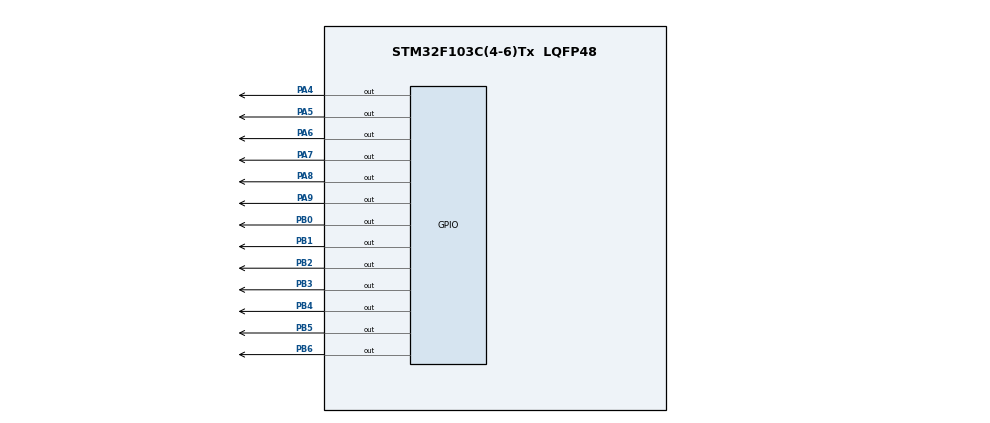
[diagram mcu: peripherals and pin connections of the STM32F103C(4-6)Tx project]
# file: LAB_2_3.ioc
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Mcu.Family=STM32F1
Mcu.Name=STM32F103C(4-6)Tx
Mcu.Package=LQFP48
NVIC.PriorityGroup=NVIC_PRIORITYGROUP_4
NVIC.TIM2_IRQn=true\:0\:0\:false\:false\:true\:true\:true
PA4.Signal=GPIO_Output
PA5.Signal=GPIO_Output
PA6.PinState=GPIO_PIN_SET
PA6.Signal=GPIO_Output
PA7.PinState=GPIO_PIN_SET
PA7.Signal=GPIO_Output
PA8.Signal=GPIO_Output
PA9.Signal=GPIO_Output
PB0.Signal=GPIO_Output
PB1.Signal=GPIO_Output
PB2.Signal=GPIO_Output
PB3.Signal=GPIO_Output
PB4.Signal=GPIO_Output
PB5.Signal=GPIO_Output
PB6.Signal=GPIO_Output
ProjectManager.HeapSize=0x200
ProjectManager.StackSize=0x400
ProjectManager.TargetToolchain=STM32CubeIDE
RCC.APB1Freq_Value=8000000
RCC.APB2Freq_Value=8000000
TIM2.Period=499
TIM2.Prescaler=7999
VP_SYS_VS_ND.Mode=No_Debug
VP_TIM2_VS_ClockSourceINT.Mode=Internal
board=custom

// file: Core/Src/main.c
/* USER CODE BEGIN Header */
/**
  ******************************************************************************
  * @file           : main.c
  * @brief          : Main program body for Lab 2 - Exercise 3
  ******************************************************************************
  */
/* USER CODE END Header */
#include "main.h"
#include "stm32f1xx_hal_tim.h" // Ensures Timer functions compile successfully

TIM_HandleTypeDef htim2;

/* USER CODE BEGIN PV */
const int MAX_LED = 4;
int index_led = 0;
int led_buffer[4] = {1, 2, 3, 4};
/* USER CODE END PV */

void SystemClock_Config(void);
static void MX_GPIO_Init(void);
static void MX_TIM2_Init(void);

/* USER CODE BEGIN 0 */
void display7SEG(int num) {
    // Hex array for common anode 7-segment (0 turns segment ON, 1 turns it OFF)
    uint8_t segmentMap[10] = {0x40, 0x79, 0x24, 0x30, 0x19, 0x12, 0x02, 0x78, 0x00, 0x10};

    if (num < 0 || num > 9) return;

    uint8_t val = segmentMap[num];

    // Write the corresponding bit to PB0 - PB6
    HAL_GPIO_WritePin(GPIOB, GPIO_PIN_0, (val >> 0) & 0x01);
    HAL_GPIO_WritePin(GPIOB, GPIO_PIN_1, (val >> 1) & 0x01);
    HAL_GPIO_WritePin(GPIOB, GPIO_PIN_2, (val >> 2) & 0x01);
    HAL_GPIO_WritePin(GPIOB, GPIO_PIN_3, (val >> 3) & 0x01);
    HAL_GPIO_WritePin(GPIOB, GPIO_PIN_4, (val >> 4) & 0x01);
    HAL_GPIO_WritePin(GPIOB, GPIO_PIN_5, (val >> 5) & 0x01);
    HAL_GPIO_WritePin(GPIOB, GPIO_PIN_6, (val >> 6) & 0x01);
}

void update7SEG(int index) {
    // Turn OFF all EN pins (PA6 to PA9) to prevent ghosting between frames
    HAL_GPIO_WritePin(GPIOA, GPIO_PIN_6 | GPIO_PIN_7 | GPIO_PIN_8 | GPIO_PIN_9, GPIO_PIN_SET);

    switch (index) {
        case 0:
            // Display the first 7SEG with led_buffer[0]
            display7SEG(led_buffer[0]);
            HAL_GPIO_WritePin(GPIOA, GPIO_PIN_6, GPIO_PIN_RESET);
            break;
        case 1:
            // Display the second 7SEG with led_buffer[1]
            display7SEG(led_buffer[1]);
            HAL_GPIO_WritePin(GPIOA, GPIO_PIN_7, GPIO_PIN_RESET);
            break;
        case 2:
            // Display the third 7SEG with led_buffer[2]
            display7SEG(led_buffer[2]);
            HAL_GPIO_WritePin(GPIOA, GPIO_PIN_8, GPIO_PIN_RESET);
            break;
        case 3:
            // Display the forth 7SEG with led_buffer[3]
            display7SEG(led_buffer[3]);
            HAL_GPIO_WritePin(GPIOA, GPIO_PIN_9, GPIO_PIN_RESET);
            break;
        default:
            break;
    }
}
/* USER CODE END 0 */

int main(void)
{

  /* MCU Configuration--------------------------------------------------------*/

  /* Reset of all peripherals, Initializes the Flash interface and the Systick. */
  HAL_Init();

  /* Configure the system clock */
  SystemClock_Config();

  /* Initialize all configured peripherals */
  MX_GPIO_Init();
  MX_TIM2_Init();
  /* USER CODE BEGIN 2 */
  // Start TIM2 in interrupt mode
  if (HAL_TIM_Base_Start_IT(&htim2) != HAL_OK) {
      Error_Handler();
  }
  /* USER CODE END 2 */

  /* Infinite loop */
  while (1)
  {

  }
}

void SystemClock_Config(void)
{
  RCC_OscInitTypeDef RCC_OscInitStruct = {0};
  RCC_ClkInitTypeDef RCC_ClkInitStruct = {0};

  /** Initializes the RCC Oscillators according to the specified parameters
  * in the RCC_OscInitTypeDef structure.
  */
  RCC_OscInitStruct.OscillatorType = RCC_OSCILLATORTYPE_HSI;
  RCC_OscInitStruct.HSIState = RCC_HSI_ON;
  RCC_OscInitStruct.HSICalibrationValue = RCC_HSICALIBRATION_DEFAULT;
  RCC_OscInitStruct.PLL.PLLState = RCC_PLL_NONE;
  if (HAL_RCC_OscConfig(&RCC_OscInitStruct) != HAL_OK)
  {
    Error_Handler();
  }
  /** Initializes the CPU, AHB and APB buses clocks
  */
  RCC_ClkInitStruct.ClockType = RCC_CLOCKTYPE_HCLK|RCC_CLOCKTYPE_SYSCLK
                              |RCC_CLOCKTYPE_PCLK1|RCC_CLOCKTYPE_PCLK2;
  RCC_ClkInitStruct.SYSCLKSource = RCC_SYSCLKSOURCE_HSI;
  RCC_ClkInitStruct.AHBCLKDivider = RCC_SYSCLK_DIV1;
  RCC_ClkInitStruct.APB1CLKDivider = RCC_HCLK_DIV1;
  RCC_ClkInitStruct.APB2CLKDivider = RCC_HCLK_DIV1;

  if (HAL_RCC_ClockConfig(&RCC_ClkInitStruct, FLASH_LATENCY_0) != HAL_OK)
  {
    Error_Handler();
  }
}

static void MX_TIM2_Init(void)
{

  TIM_ClockConfigTypeDef sClockSourceConfig = {0};
  TIM_MasterConfigTypeDef sMasterConfig = {0};

  htim2.Instance = TIM2;
  htim2.Init.Prescaler = 7999;
  htim2.Init.CounterMode = TIM_COUNTERMODE_UP;
  htim2.Init.Period = 499;
  htim2.Init.ClockDivision = TIM_CLOCKDIVISION_DIV1;
  htim2.Init.AutoReloadPreload = TIM_AUTORELOAD_PRELOAD_DISABLE;
  if (HAL_TIM_Base_Init(&htim2) != HAL_OK)
  {
    Error_Handler();
  }
  sClockSourceConfig.ClockSource = TIM_CLOCKSOURCE_INTERNAL;
  if (HAL_TIM_ConfigClockSource(&htim2, &sClockSourceConfig) != HAL_OK)
  {
    Error_Handler();
  }
  sMasterConfig.MasterOutputTrigger = TIM_TRGO_RESET;
  sMasterConfig.MasterSlaveMode = TIM_MASTERSLAVEMODE_DISABLE;
  if (HAL_TIMEx_MasterConfigSynchronization(&htim2, &sMasterConfig) != HAL_OK)
  {
    Error_Handler();
  }

}

static void MX_GPIO_Init(void)
{
  GPIO_InitTypeDef GPIO_InitStruct = {0};

  /* GPIO Ports Clock Enable */
  __HAL_RCC_GPIOA_CLK_ENABLE();
  __HAL_RCC_GPIOB_CLK_ENABLE();

  /*Configure GPIO pin Output Level (PA4, PA5 default to LOW) */
  HAL_GPIO_WritePin(GPIOA, GPIO_PIN_4|GPIO_PIN_5, GPIO_PIN_RESET);

  /*Configure GPIO pin Output Level (PA6, PA7, PA8, PA9 default to HIGH to turn OFF displays) */
  HAL_GPIO_WritePin(GPIOA, GPIO_PIN_6|GPIO_PIN_7|GPIO_PIN_8|GPIO_PIN_9, GPIO_PIN_SET);

  /*Configure GPIO pin Output Level */
  HAL_GPIO_WritePin(GPIOB, GPIO_PIN_0|GPIO_PIN_1|GPIO_PIN_2|GPIO_PIN_3
                          |GPIO_PIN_4|GPIO_PIN_5|GPIO_PIN_6, GPIO_PIN_RESET);

  /*Configure GPIO pins : PA4 PA5 PA6 PA7 PA8 PA9 */
  GPIO_InitStruct.Pin = GPIO_PIN_4|GPIO_PIN_5|GPIO_PIN_6|GPIO_PIN_7
                          |GPIO_PIN_8|GPIO_PIN_9;
  GPIO_InitStruct.Mode = GPIO_MODE_OUTPUT_PP;
  GPIO_InitStruct.Pull = GPIO_NOPULL;
  GPIO_InitStruct.Speed = GPIO_SPEED_FREQ_LOW;
  HAL_GPIO_Init(GPIOA, &GPIO_InitStruct);

  /*Configure GPIO pins : PB0 PB1 PB2 PB3 PB4 PB5 PB6 */
  GPIO_InitStruct.Pin = GPIO_PIN_0|GPIO_PIN_1|GPIO_PIN_2|GPIO_PIN_3
                          |GPIO_PIN_4|GPIO_PIN_5|GPIO_PIN_6;
  GPIO_InitStruct.Mode = GPIO_MODE_OUTPUT_PP;
  GPIO_InitStruct.Pull = GPIO_NOPULL;
  GPIO_InitStruct.Speed = GPIO_SPEED_FREQ_LOW;
  HAL_GPIO_Init(GPIOB, &GPIO_InitStruct);

}

/* USER CODE BEGIN 4 */
void HAL_TIM_PeriodElapsedCallback(TIM_HandleTypeDef *htim)
{
    if(htim->Instance == TIM2)
    {
        // 1. Scan the 7-segment displays using the helper function
        update7SEG(index_led++);

        // 2. Loop the index back to 0 once it reaches the maximum number of LEDs
        if (index_led >= MAX_LED) {
            index_led = 0;
        }

        // 3. Toggle the DOT LEDs (PA4) - toggling every 500ms creates a 1-second blink cycle
        HAL_GPIO_TogglePin(GPIOA, GPIO_PIN_4);

        // (Optional) Toggle D1 on PA5
        HAL_GPIO_TogglePin(GPIOA, GPIO_PIN_5);
    }
}
/* USER CODE END 4 */

void Error_Handler(void)
{
  __disable_irq();
  while (1)
  {
  }
}

/************************ (C) COPYRIGHT STMicroelectronics *****END OF FILE****/
